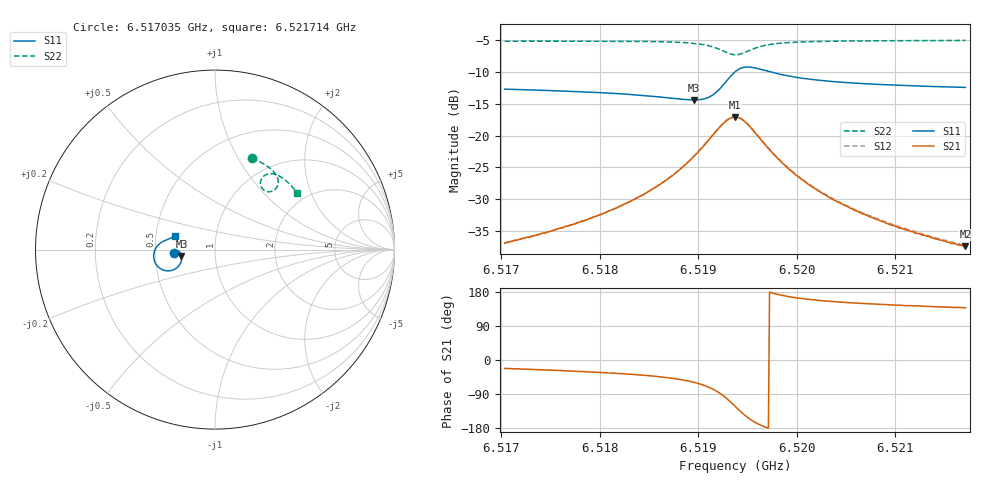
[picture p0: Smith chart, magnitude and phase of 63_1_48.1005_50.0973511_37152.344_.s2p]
#  HZ  S  RI  R  50.00
! Rohde & Schwarz Vector Network Analyzer
! Rohde-Schwarz,ZNB20-2Port,1311601062101988,3.16
! Created: UTC 12/23/2023, 3:40:59 AM
! freq[Hz]  re:S11  im:S11  re:S21  im:S21  re:S12  im:S12  re:S22  im:S22
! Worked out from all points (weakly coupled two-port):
!   401 points, 6.517035 GHz to 6.521714 GHz, reference 50 ohm
!   highest |S21| = -17.10 dB at 6.519375 GHz (marker M1); lowest = -37.3 dB at 6.521714 GHz (marker M2)
!   lowest |S11| = -14.4 dB at 6.518953 GHz (marker M3), VSWR 1.47, Z = 34.2 - j2.47 ohm
!   |S11| at or under -10 dB: start of sweep to 6.519376 GHz; 6.519726 GHz to end of sweep
!   |S22| runs from -7.4 to -5.1 dB; largest |S21 - S12| = 0.0044
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6.5170347e9  -0.2303 -0.0166  0.0133 -0.00541  0.0134 -0.00488  0.2063 0.5082
6.5174676e9  -0.2253 -0.0104  0.0156 -0.00779  0.0158 -0.00724  0.2381 0.4945
6.5178185e9  -0.2202 -0.00633  0.0185 -0.0109  0.0186 -0.0101  0.2641 0.4811
6.5181929e9  -0.2128 -0.0045  0.0225 -0.0161  0.0229 -0.0153  0.2924 0.4634
6.5184386e9  -0.2062 -0.00599  0.0261 -0.022  0.0269 -0.0214  0.3112 0.449
6.5186024e9  -0.2007 -0.00934  0.0293 -0.0285  0.0303 -0.0276  0.3241 0.4371
6.5187662e9  -0.1941 -0.0168  0.0329 -0.0385  0.0343 -0.0374  0.3367 0.4215
6.5189533e9  -0.1869 -0.0348  0.0355 -0.058  0.0375 -0.0572  0.3496 0.396
6.5190703e9  -0.1866 -0.0563  0.0321 -0.0789  0.0348 -0.0785  0.3522 0.3727
6.5191522e9  -0.1936 -0.0781  0.0224 -0.0987  0.0256 -0.0987  0.3472 0.3523
6.5192809e9  -0.237 -0.1146  -0.0217 -0.1276  -0.0182 -0.1293  0.3135 0.3235
6.5193745e9  -0.2954 -0.111  -0.074 -0.1183  -0.0712 -0.1213  0.2728 0.331
6.519433e9  -0.3255 -0.0863  -0.0981 -0.0933  -0.0963 -0.0969  0.2565 0.3524
6.5194915e9  -0.3401 -0.0538  -0.1076 -0.0636  -0.1066 -0.0671  0.2535 0.3769
6.5195851e9  -0.3375 -0.00956  -0.1005 -0.0259  -0.1006 -0.0291  0.2676 0.4058
6.5196787e9  -0.3229 0.0177  -0.0848 -0.00489  -0.0854 -0.00747  0.2882 0.4191
6.519901e9  -0.2911 0.0444  -0.0553 0.0116  -0.0563 0.01  0.3283 0.4212
6.5201583e9  -0.2694 0.0545  -0.037 0.0141  -0.0378 0.0132  0.3586 0.4097
6.5205093e9  -0.2527 0.0614  -0.0245 0.0132  -0.0252 0.0127  0.3883 0.3898
6.5209422e9  -0.24 0.0676  -0.0167 0.0113  -0.0174 0.0111  0.4163 0.3641
6.5213984e9  -0.2305 0.074  -0.0121 0.00994  -0.0126 0.00971  0.4416 0.3364
6.5217143e9  -0.2251 0.0784  -0.01 0.00913  -0.0105 0.00898  0.457 0.3169
